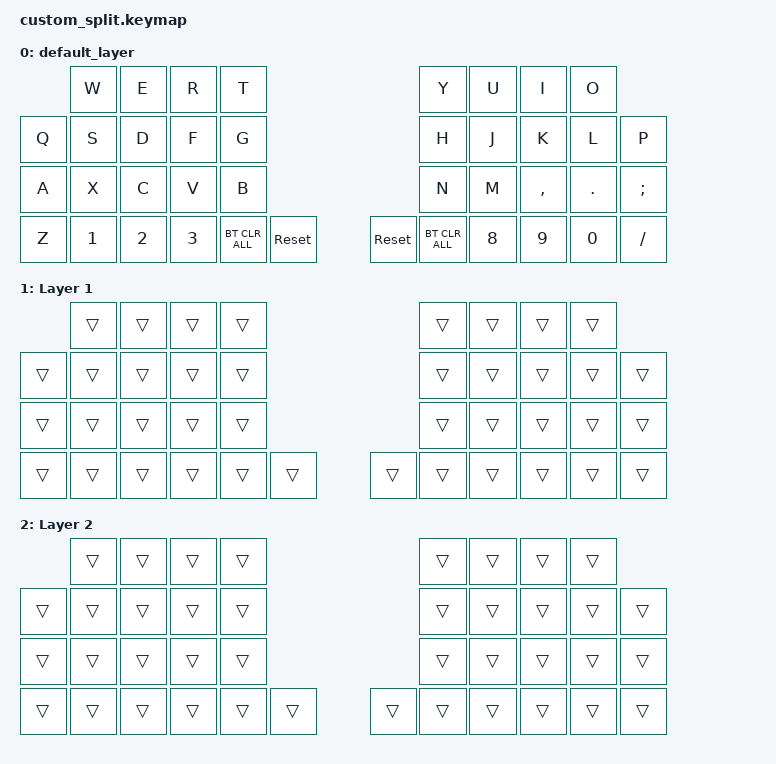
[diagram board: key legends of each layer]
/*
 * Copyright (c) 2020 The ZMK Contributors
 *
 * SPDX-License-Identifier: MIT
 */

#include <behaviors.dtsi>
#include <dt-bindings/zmk/keys.h>
#include <dt-bindings/zmk/bt.h>

/ {
     behaviors {
        // empty for now, but the section needs to exist
    };
    
    combos {
        compatible = "zmk,combos";
        studio_unlock {
            timeout-ms = <200>;
            key-positions = <0 8>;  // adjust to two keys you can press together
            bindings = <&studio_unlock>;
        };
    };
    keymap {
        compatible = "zmk,keymap";

        default_layer {
// Matrix layout (col0=leftmost, col5=rightmost):
// Left:  [ empty,   W,    E,    R,    T,  empty ] | Right: [ empty,   Y,    U,    I,    O,  empty ]
// Left:  [   Q,     S,    D,    F,    G,  empty ] | Right: [ empty,   H,    J,    K,    L,  empty ]  
// Left:  [   A,     X,    C,    V,    B,  empty ] | Right: [ empty,   N,    M,   ,,    .,  empty ]
// Left:  [   Z,     1,    2,    3,    4,    5   ] | Right: [   6,     7,    8,    9,    0,    P   ]
            bindings = <
                    &kp W   &kp E   &kp R   &kp T                           &kp Y   &kp U   &kp I   &kp O
   &kp Q    &kp S   &kp D   &kp F   &kp G           &kp H   &kp J   &kp K   &kp L   &kp P
   &kp A    &kp X   &kp C   &kp V   &kp B           &kp N   &kp M   &kp COMMA &kp DOT &kp SEMI
   &kp Z    &kp N1  &kp N2  &kp N3  &bt BT_CLR_ALL  &sys_reset  &sys_reset  &bt BT_CLR_ALL &kp N8  &kp N9  &kp N0  &kp SLASH
            >;
        };
	   layer_1 {
        display-name = "Layer 1";
        bindings = <
                &trans  &trans  &trans  &trans                           &trans  &trans  &trans  &trans
&trans  &trans  &trans  &trans  &trans          &trans  &trans  &trans  &trans  &trans
&trans  &trans  &trans  &trans  &trans          &trans  &trans  &trans  &trans  &trans
&trans  &trans  &trans  &trans  &trans  &trans  &trans  &trans  &trans  &trans  &trans  &trans
        >;
    };

    layer_2 {
        display-name = "Layer 2";
        bindings = <
                &trans  &trans  &trans  &trans                           &trans  &trans  &trans  &trans
&trans  &trans  &trans  &trans  &trans          &trans  &trans  &trans  &trans  &trans
&trans  &trans  &trans  &trans  &trans          &trans  &trans  &trans  &trans  &trans
&trans  &trans  &trans  &trans  &trans  &trans  &trans  &trans  &trans  &trans  &trans  &trans
        >;
    };
    };
};
